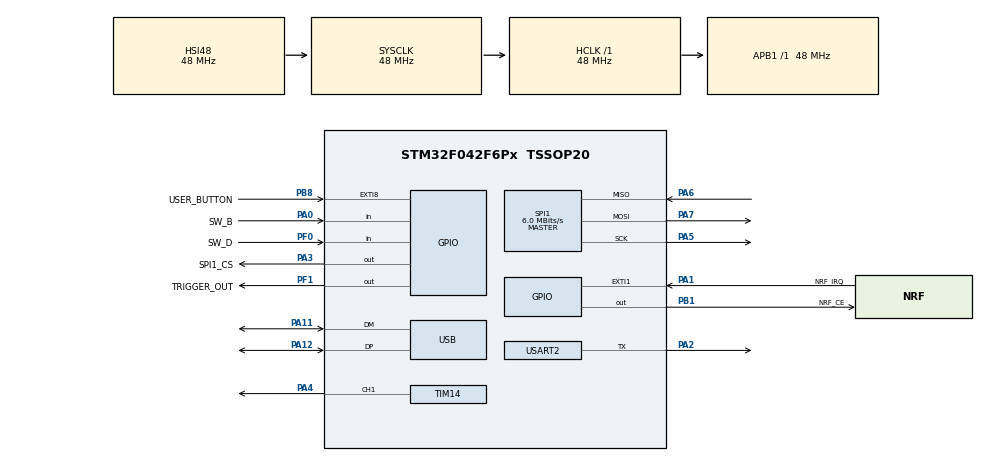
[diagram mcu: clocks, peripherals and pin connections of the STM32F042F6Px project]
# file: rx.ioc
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IWDG.Prescaler=IWDG_PRESCALER_8
Mcu.Family=STM32F0
Mcu.Name=STM32F042F6Px
Mcu.Package=TSSOP20
NVIC.EXTI0_1_IRQn=true\:0\:0\:true\:false\:true\:true
NVIC.EXTI4_15_IRQn=true\:2\:0\:true\:false\:true\:true
NVIC.TIM17_IRQn=true\:1\:0\:true\:false\:true\:true
NVIC.USB_IRQn=true\:0\:0\:false\:false\:true\:false
PA0.GPIO_Label=SW_B
PA0.GPIO_PuPd=GPIO_PULLDOWN
PA0.Signal=GPIO_Input
PA1.GPIO_Label=NRF_IRQ
PA1.GPIO_ModeDefaultEXTI=GPIO_MODE_IT_FALLING
PA1.GPIO_PuPd=GPIO_PULLUP
PA1.Signal=GPXTI1
PA11.Mode=Device
PA11.Signal=USB_DM
PA12.Mode=Device
PA12.Signal=USB_DP
PA13.Mode=Serial_Wire
PA13.Signal=SYS_SWDIO
PA14.Mode=Serial_Wire
PA14.Signal=SYS_SWCLK
PA2.Mode=Half_duplex(single_wire_mode)
PA2.Signal=USART2_TX
PA3.GPIO_Label=SPI1_CS
PA3.PinState=GPIO_PIN_SET
PA3.Signal=GPIO_Output
PA4.Signal=S_TIM14_CH1
PA5.Mode=Full_Duplex_Master
PA5.Signal=SPI1_SCK
PA6.Mode=Full_Duplex_Master
PA6.Signal=SPI1_MISO
PA7.Mode=Full_Duplex_Master
PA7.Signal=SPI1_MOSI
PB1.GPIO_Label=NRF_CE
PB1.Signal=GPIO_Output
PB8.GPIO_Label=USER_BUTTON
PB8.Signal=GPXTI8
PF0-OSC_IN.GPIO_Label=SW_D
PF0-OSC_IN.GPIO_PuPd=GPIO_PULLDOWN
PF0-OSC_IN.Signal=GPIO_Input
PF1-OSC_OUT.GPIO_Label=TRIGGER_OUT
PF1-OSC_OUT.Signal=GPIO_Output
ProjectManager.HeapSize=0x200
ProjectManager.StackSize=0x400
ProjectManager.TargetToolchain=MDK-ARM V5
RCC.AHBFreq_Value=48000000
RCC.APB1Freq_Value=48000000
RCC.APB1TimFreq_Value=48000000
RCC.HCLKFreq_Value=48000000
RCC.SYSCLKFreq_VALUE=48000000
RCC.SYSCLKSource=RCC_SYSCLKSOURCE_HSI48
SH.S_TIM14_CH1.0=TIM14_CH1,PWM Generation1 CH1
SPI1.BaudRatePrescaler=SPI_BAUDRATEPRESCALER_8
SPI1.CalculateBaudRate=6.0 MBits/s
SPI1.DataSize=SPI_DATASIZE_8BIT
SPI1.Direction=SPI_DIRECTION_2LINES
SPI1.Mode=SPI_MODE_MASTER
SPI1.VirtualType=VM_MASTER
TIM14.Channel=TIM_CHANNEL_1
TIM14.Period=255
TIM14.Prescaler=2399
TIM17.Period=16666
TIM17.Prescaler=47
USART2.BaudRate=115200
USART2.Mode=MODE_TX
USART2.VirtualMode-Half_duplex(single_wire_mode)=VM_ASYNC
USB_DEVICE.CLASS_NAME_FS=HID
USB_DEVICE.MANUFACTURER_STRING=IBM Corp. NetVista Full Width Keyboard
USB_DEVICE.PID_HID_FS=12325
USB_DEVICE.PRODUCT_STRING_HID_FS=NetVista Full Width Keyboard
USB_DEVICE.VID=1203
USB_DEVICE.VirtualMode=Hid
USB_DEVICE.VirtualModeFS=Hid_FS
VP_IWDG_VS_IWDG.Mode=IWDG_Activate
VP_SYS_VS_PINREMAP.Mode=PINREMAP
VP_TIM14_VS_ClockSourceINT.Mode=Enable_Timer
VP_TIM17_VS_ClockSourceINT.Mode=Enable_Timer
VP_USB_DEVICE_VS_USB_DEVICE_HID_FS.Mode=HID_FS
board=custom

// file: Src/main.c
/**
  ******************************************************************************
  * @file           : main.c
  * @brief          : Main program body
  ******************************************************************************
  * This notice applies to any and all portions of this file
  * that are not between comment pairs USER CODE BEGIN and
  * USER CODE END. Other portions of this file, whether
  * inserted by the user or by software development tools
  * are owned by their respective copyright owners.
  *
  * Copyright (c) 2019 STMicroelectronics International N.V.
  * All rights reserved.
  *
  * Redistribution and use in source and binary forms, with or without
  * modification, are permitted, provided that the following conditions are met:
  *
  * 1. Redistribution of source code must retain the above copyright notice,
  *    this list of conditions and the following disclaimer.
  * 2. Redistributions in binary form must reproduce the above copyright notice,
  *    this list of conditions and the following disclaimer in the documentation
  *    and/or other materials provided with the distribution.
  * 3. Neither the name of STMicroelectronics nor the names of other
  *    contributors to this software may be used to endorse or promote products
  *    derived from this software without specific written permission.
  * 4. This software, including modifications and/or derivative works of this
  *    software, must execute solely and exclusively on microcontroller or
  *    microprocessor devices manufactured by or for STMicroelectronics.
  * 5. Redistribution and use of this software other than as permitted under
  *    this license is void and will automatically terminate your rights under
  *    this license.
  *
  * THIS SOFTWARE IS PROVIDED BY STMICROELECTRONICS AND CONTRIBUTORS "AS IS"
  * AND ANY EXPRESS, IMPLIED OR STATUTORY WARRANTIES, INCLUDING, BUT NOT
  * LIMITED TO, THE IMPLIED WARRANTIES OF MERCHANTABILITY, FITNESS FOR A
  * PARTICULAR PURPOSE AND NON-INFRINGEMENT OF THIRD PARTY INTELLECTUAL PROPERTY
  * RIGHTS ARE DISCLAIMED TO THE FULLEST EXTENT PERMITTED BY LAW. IN NO EVENT
  * SHALL STMICROELECTRONICS OR CONTRIBUTORS BE LIABLE FOR ANY DIRECT, INDIRECT,
  * INCIDENTAL, SPECIAL, EXEMPLARY, OR CONSEQUENTIAL DAMAGES (INCLUDING, BUT NOT
  * LIMITED TO, PROCUREMENT OF SUBSTITUTE GOODS OR SERVICES; LOSS OF USE, DATA,
  * OR PROFITS; OR BUSINESS INTERRUPTION) HOWEVER CAUSED AND ON ANY THEORY OF
  * LIABILITY, WHETHER IN CONTRACT, STRICT LIABILITY, OR TORT (INCLUDING
  * NEGLIGENCE OR OTHERWISE) ARISING IN ANY WAY OUT OF THE USE OF THIS SOFTWARE,
  * EVEN IF ADVISED OF THE POSSIBILITY OF SUCH DAMAGE.
  *
  ******************************************************************************
  */
#include "main.h"
#include "stm32f0xx_hal.h"
#include "usb_device.h"

/* USER CODE BEGIN Includes */
#include "shared.h"
#include "nrf24.h"
#include "helpers.h"
#include "keyboard.h"
#include "animation.h"

#define DTPR_CMD_TEST 0xa1
#define DTPR_CMD_TRIG 0xb2
#define DTPR_CMD_STAT 0xc3

#define NRF_PAYLOAD_SIZE 6
#define NRF_CHANNEL 115

#define PRINT_BUF_SIZE 256
#define NUMBER_BUF_SIZE 20

/* USER CODE END Includes */

IWDG_HandleTypeDef hiwdg;

SPI_HandleTypeDef hspi1;

TIM_HandleTypeDef htim14;
TIM_HandleTypeDef htim17;

UART_HandleTypeDef huart2;

/* USER CODE BEGIN PV */
/* Private variables ---------------------------------------------------------*/
uint8_t nrf_status;
uint8_t received_data[NRF_PAYLOAD_SIZE];
uint8_t tx_address[5] = {0xBE,0xAD,0xA5,0xBA,0xBE};
uint8_t rx_address[5] = {0xDA,0xBB,0xED,0xC0,0x0C};
char print_buf[PRINT_BUF_SIZE];
char tx_id_buf[NUMBER_BUF_SIZE];
char baseline_buf[NUMBER_BUF_SIZE];
char trigger_buf[NUMBER_BUF_SIZE];
char bat_buf[NUMBER_BUF_SIZE];
char po_time_buf[NUMBER_BUF_SIZE];
char last_trigger_buf[NUMBER_BUF_SIZE];
char last_stat_buf[NUMBER_BUF_SIZE];
uint16_t baseline, this_reading, vbat_mV, power_on_time;
uint8_t rx_avaliable, button_pressed;
uint32_t last_stat_msg, last_trigger_msg;

/* USER CODE END PV */

void SystemClock_Config(void);
static void MX_GPIO_Init(void);
static void MX_USART2_UART_Init(void);
static void MX_SPI1_Init(void);
static void MX_TIM17_Init(void);
static void MX_TIM14_Init(void);
static void MX_IWDG_Init(void);

void HAL_TIM_MspPostInit(TIM_HandleTypeDef *htim);

/* USER CODE BEGIN PFP */
/* Private function prototypes -----------------------------------------------*/

/* USER CODE END PFP */

/* USER CODE BEGIN 0 */
int fputc(int ch, FILE *f)
{
    HAL_UART_Transmit(&huart2, (unsigned char *)&ch, 1, 10);
    return ch;
}

// timer interrupt handler
// happens every 16.67ms
void HAL_TIM_PeriodElapsedCallback(TIM_HandleTypeDef *htim)
{
  if(htim->Instance == TIM17)
    animation_update();
}

uint16_t eight2sixteen(uint8_t msb, uint8_t lsb)
{
  return (msb << 8) | lsb;
}

// this is the pin change interrupt handler
void HAL_GPIO_EXTI_Callback(uint16_t GPIO_Pin)
{
  if(GPIO_Pin == NRF_IRQ_Pin)
    rx_avaliable = 1;
  else if(GPIO_Pin == USER_BUTTON_Pin)
    button_pressed = 1;
}

void print_status(void)
{
  memset(print_buf, 0, PRINT_BUF_SIZE);
  sprintf(tx_id_buf, "Unknown");
  sprintf(trigger_buf, "Unknown");
  sprintf(baseline_buf, "Unknown");
  sprintf(po_time_buf, "Unknown");
  sprintf(bat_buf, "Unknown");
  sprintf(last_stat_buf, "Never");
  sprintf(last_trigger_buf, "Never");
  if(last_stat_msg != 0 || last_trigger_msg != 0)
  {
    if(received_data[0] != 0)
      sprintf(tx_id_buf, "0x%x", received_data[0]);
    if(baseline != 0)
      sprintf(baseline_buf, "%dmm", baseline);
    if(this_reading != 0)
      sprintf(trigger_buf, "%dmm", this_reading);
    if(vbat_mV != 0)
      sprintf(bat_buf, "%dmV", vbat_mV);
    if(last_stat_msg != 0)
      sprintf(po_time_buf, "%d minutes", power_on_time * 5 / 60);
    if(last_trigger_msg != 0)
      sprintf(last_trigger_buf, "%d seconds ago", (HAL_GetTick() - last_trigger_msg)/1000);
    if(last_stat_msg != 0)
      sprintf(last_stat_buf, "%d seconds ago", (HAL_GetTick() - last_stat_msg)/1000);
  	sprintf(print_buf, "\n---\n\
transmitter ID: %s\n\
...\n\
last trigger message: %s\n\
baseline: %s\n\
trigger: %s\n\
...\n\
last stat message: %s\n\
battery: %s\n\
power-on time: %s\n---\n\
", tx_id_buf, last_trigger_buf, baseline_buf, trigger_buf, last_stat_buf, bat_buf, po_time_buf);
  }
  else
  	sprintf(print_buf, "\nNo message has been received from TX yet.\n");
  // printf("%s", print_buf);
  kb_print(print_buf, 20);
  keyboard_release_all();
  button_pressed = 0;
}

/* USER CODE END 0 */

int main(void)
{

  /* MCU Configuration----------------------------------------------------------*/

  /* Reset of all peripherals, Initializes the Flash interface and the Systick. */
  HAL_Init();

  /* Configure the system clock */
  SystemClock_Config();

  /* Initialize all configured peripherals */
  MX_GPIO_Init();
  MX_USART2_UART_Init();
  MX_SPI1_Init();
  MX_TIM17_Init();
  MX_TIM14_Init();
  /* USER CODE BEGIN 2 */
  MX_IWDG_Init();
  animation_init(&htim17, &htim14);

  printf("\n\ndaytripper RX\ndekuNukem 2020\n\n");
  iwdg_wait(2000, ANIMATION_TYPE_BREATHING);
  MX_USB_DEVICE_Init();

  printf("initializing NRF...\n");
  nrf24_init();
  nrf24_config(NRF_CHANNEL, NRF_PAYLOAD_SIZE);
  nrf24_tx_address(tx_address);
  nrf24_rx_address(rx_address);
  printf("done\n");
  start_animation(ANIMATION_TYPE_CONST_OFF);

  /* USER CODE END 2 */

  /* Infinite loop */
  while (1)
  {

  /* USER CODE BEGIN 3 */
    HAL_IWDG_Refresh(&hiwdg);

    if(button_pressed)
      print_status();

    if(!rx_avaliable)
      continue;

    while(nrf24_dataReady())
    {
      start_animation(ANIMATION_TYPE_DOUBLEFLASH);
      nrf24_getData(received_data);

      printf("received: ");
      for (int i = 0; i < 6; ++i)
        printf("0x%x ", received_data[i]);
      printf("\n");

      if(received_data[1] == DTPR_CMD_TRIG)
      {
        HAL_GPIO_WritePin(TRIGGER_OUT_GPIO_Port, TRIGGER_OUT_Pin, GPIO_PIN_SET);
        press_keys(get_slide_sw_pos());
        baseline = eight2sixteen(received_data[2], received_data[3]);
        this_reading = eight2sixteen(received_data[4], received_data[5]);
        printf("cmd type: trigger\nbase: %d, this: %d\n", baseline, this_reading);
        HAL_GPIO_WritePin(TRIGGER_OUT_GPIO_Port, TRIGGER_OUT_Pin, GPIO_PIN_RESET);
        last_trigger_msg = HAL_GetTick();
      }

      else if(received_data[1] == DTPR_CMD_STAT)
      {
        vbat_mV = eight2sixteen(received_data[2], received_data[3]);
        power_on_time = eight2sixteen(received_data[4], received_data[5]);
        last_stat_msg = HAL_GetTick();
        printf("cmd type: status\nvbat_mV: %d, power-on time: %d minutes\n", vbat_mV, power_on_time * 5 / 60);
      }

      else if(received_data[1] == DTPR_CMD_TEST)
        printf("cmd type: test\n");

      if(vbat_mV >= 2500 && vbat_mV <= 3300)
        start_animation(ANIMATION_TYPE_BLINK);

      printf("\n\n");
    }
    rx_avaliable = 0;
  }
  /* USER CODE END 3 */

}

void SystemClock_Config(void)
{

  RCC_OscInitTypeDef RCC_OscInitStruct;
  RCC_ClkInitTypeDef RCC_ClkInitStruct;
  RCC_PeriphCLKInitTypeDef PeriphClkInit;

    /**Initializes the CPU, AHB and APB busses clocks
    */
  RCC_OscInitStruct.OscillatorType = RCC_OSCILLATORTYPE_HSI48|RCC_OSCILLATORTYPE_LSI;
  RCC_OscInitStruct.HSI48State = RCC_HSI48_ON;
  RCC_OscInitStruct.LSIState = RCC_LSI_ON;
  RCC_OscInitStruct.PLL.PLLState = RCC_PLL_NONE;
  if (HAL_RCC_OscConfig(&RCC_OscInitStruct) != HAL_OK)
  {
    _Error_Handler(__FILE__, __LINE__);
  }

    /**Initializes the CPU, AHB and APB busses clocks
    */
  RCC_ClkInitStruct.ClockType = RCC_CLOCKTYPE_HCLK|RCC_CLOCKTYPE_SYSCLK
                              |RCC_CLOCKTYPE_PCLK1;
  RCC_ClkInitStruct.SYSCLKSource = RCC_SYSCLKSOURCE_HSI48;
  RCC_ClkInitStruct.AHBCLKDivider = RCC_SYSCLK_DIV1;
  RCC_ClkInitStruct.APB1CLKDivider = RCC_HCLK_DIV1;

  if (HAL_RCC_ClockConfig(&RCC_ClkInitStruct, FLASH_LATENCY_1) != HAL_OK)
  {
    _Error_Handler(__FILE__, __LINE__);
  }

  PeriphClkInit.PeriphClockSelection = RCC_PERIPHCLK_USB;
  PeriphClkInit.UsbClockSelection = RCC_USBCLKSOURCE_HSI48;

  if (HAL_RCCEx_PeriphCLKConfig(&PeriphClkInit) != HAL_OK)
  {
    _Error_Handler(__FILE__, __LINE__);
  }

    /**Configure the Systick interrupt time
    */
  HAL_SYSTICK_Config(HAL_RCC_GetHCLKFreq()/1000);

    /**Configure the Systick
    */
  HAL_SYSTICK_CLKSourceConfig(SYSTICK_CLKSOURCE_HCLK);

  /* SysTick_IRQn interrupt configuration */
  HAL_NVIC_SetPriority(SysTick_IRQn, 0, 0);
}

/* IWDG init function */
static void MX_IWDG_Init(void)
{

  hiwdg.Instance = IWDG;
  hiwdg.Init.Prescaler = IWDG_PRESCALER_8;
  hiwdg.Init.Window = 4095;
  hiwdg.Init.Reload = 4095;
  if (HAL_IWDG_Init(&hiwdg) != HAL_OK)
  {
    _Error_Handler(__FILE__, __LINE__);
  }

}

/* SPI1 init function */
static void MX_SPI1_Init(void)
{

  /* SPI1 parameter configuration*/
  hspi1.Instance = SPI1;
  hspi1.Init.Mode = SPI_MODE_MASTER;
  hspi1.Init.Direction = SPI_DIRECTION_2LINES;
  hspi1.Init.DataSize = SPI_DATASIZE_8BIT;
  hspi1.Init.CLKPolarity = SPI_POLARITY_LOW;
  hspi1.Init.CLKPhase = SPI_PHASE_1EDGE;
  hspi1.Init.NSS = SPI_NSS_SOFT;
  hspi1.Init.BaudRatePrescaler = SPI_BAUDRATEPRESCALER_8;
  hspi1.Init.FirstBit = SPI_FIRSTBIT_MSB;
  hspi1.Init.TIMode = SPI_TIMODE_DISABLE;
  hspi1.Init.CRCCalculation = SPI_CRCCALCULATION_DISABLE;
  hspi1.Init.CRCPolynomial = 7;
  hspi1.Init.CRCLength = SPI_CRC_LENGTH_DATASIZE;
  hspi1.Init.NSSPMode = SPI_NSS_PULSE_ENABLE;
  if (HAL_SPI_Init(&hspi1) != HAL_OK)
  {
    _Error_Handler(__FILE__, __LINE__);
  }

}

/* TIM14 init function */
static void MX_TIM14_Init(void)
{

  TIM_OC_InitTypeDef sConfigOC;

  htim14.Instance = TIM14;
  htim14.Init.Prescaler = 2399;
  htim14.Init.CounterMode = TIM_COUNTERMODE_UP;
  htim14.Init.Period = 255;
  htim14.Init.ClockDivision = TIM_CLOCKDIVISION_DIV1;
  htim14.Init.AutoReloadPreload = TIM_AUTORELOAD_PRELOAD_DISABLE;
  if (HAL_TIM_Base_Init(&htim14) != HAL_OK)
  {
    _Error_Handler(__FILE__, __LINE__);
  }

  if (HAL_TIM_PWM_Init(&htim14) != HAL_OK)
  {
    _Error_Handler(__FILE__, __LINE__);
  }

  sConfigOC.OCMode = TIM_OCMODE_PWM1;
  sConfigOC.Pulse = 0;
  sConfigOC.OCPolarity = TIM_OCPOLARITY_HIGH;
  sConfigOC.OCFastMode = TIM_OCFAST_DISABLE;
  if (HAL_TIM_PWM_ConfigChannel(&htim14, &sConfigOC, TIM_CHANNEL_1) != HAL_OK)
  {
    _Error_Handler(__FILE__, __LINE__);
  }

  HAL_TIM_MspPostInit(&htim14);

}

/* TIM17 init function */
static void MX_TIM17_Init(void)
{

  htim17.Instance = TIM17;
  htim17.Init.Prescaler = 47;
  htim17.Init.CounterMode = TIM_COUNTERMODE_UP;
  htim17.Init.Period = 16666;
  htim17.Init.ClockDivision = TIM_CLOCKDIVISION_DIV1;
  htim17.Init.RepetitionCounter = 0;
  htim17.Init.AutoReloadPreload = TIM_AUTORELOAD_PRELOAD_DISABLE;
  if (HAL_TIM_Base_Init(&htim17) != HAL_OK)
  {
    _Error_Handler(__FILE__, __LINE__);
  }

}

/* USART2 init function */
static void MX_USART2_UART_Init(void)
{

  huart2.Instance = USART2;
  huart2.Init.BaudRate = 115200;
  huart2.Init.WordLength = UART_WORDLENGTH_8B;
  huart2.Init.StopBits = UART_STOPBITS_1;
  huart2.Init.Parity = UART_PARITY_NONE;
  huart2.Init.Mode = UART_MODE_TX;
  huart2.Init.HwFlowCtl = UART_HWCONTROL_NONE;
  huart2.Init.OverSampling = UART_OVERSAMPLING_16;
  huart2.Init.OneBitSampling = UART_ONE_BIT_SAMPLE_DISABLE;
  huart2.AdvancedInit.AdvFeatureInit = UART_ADVFEATURE_NO_INIT;
  if (HAL_HalfDuplex_Init(&huart2) != HAL_OK)
  {
    _Error_Handler(__FILE__, __LINE__);
  }

}

/** Configure pins as
        * Analog
        * Input
        * Output
        * EVENT_OUT
        * EXTI
*/
static void MX_GPIO_Init(void)
{

  GPIO_InitTypeDef GPIO_InitStruct;

  /* GPIO Ports Clock Enable */
  __HAL_RCC_GPIOB_CLK_ENABLE();
  __HAL_RCC_GPIOF_CLK_ENABLE();
  __HAL_RCC_GPIOA_CLK_ENABLE();

  /*Configure GPIO pin Output Level */
  HAL_GPIO_WritePin(TRIGGER_OUT_GPIO_Port, TRIGGER_OUT_Pin, GPIO_PIN_RESET);

  /*Configure GPIO pin Output Level */
  HAL_GPIO_WritePin(SPI1_CS_GPIO_Port, SPI1_CS_Pin, GPIO_PIN_SET);

  /*Configure GPIO pin Output Level */
  HAL_GPIO_WritePin(NRF_CE_GPIO_Port, NRF_CE_Pin, GPIO_PIN_RESET);

  /*Configure GPIO pin : USER_BUTTON_Pin */
  GPIO_InitStruct.Pin = USER_BUTTON_Pin;
  GPIO_InitStruct.Mode = GPIO_MODE_IT_RISING;
  GPIO_InitStruct.Pull = GPIO_NOPULL;
  HAL_GPIO_Init(USER_BUTTON_GPIO_Port, &GPIO_InitStruct);

  /*Configure GPIO pin : SW_D_Pin */
  GPIO_InitStruct.Pin = SW_D_Pin;
  GPIO_InitStruct.Mode = GPIO_MODE_INPUT;
  GPIO_InitStruct.Pull = GPIO_PULLDOWN;
  HAL_GPIO_Init(SW_D_GPIO_Port, &GPIO_InitStruct);

  /*Configure GPIO pin : TRIGGER_OUT_Pin */
  GPIO_InitStruct.Pin = TRIGGER_OUT_Pin;
  GPIO_InitStruct.Mode = GPIO_MODE_OUTPUT_PP;
  GPIO_InitStruct.Pull = GPIO_NOPULL;
  GPIO_InitStruct.Speed = GPIO_SPEED_FREQ_LOW;
  HAL_GPIO_Init(TRIGGER_OUT_GPIO_Port, &GPIO_InitStruct);

  /*Configure GPIO pin : SW_B_Pin */
  GPIO_InitStruct.Pin = SW_B_Pin;
  GPIO_InitStruct.Mode = GPIO_MODE_INPUT;
  GPIO_InitStruct.Pull = GPIO_PULLDOWN;
  HAL_GPIO_Init(SW_B_GPIO_Port, &GPIO_InitStruct);

  /*Configure GPIO pin : NRF_IRQ_Pin */
  GPIO_InitStruct.Pin = NRF_IRQ_Pin;
  GPIO_InitStruct.Mode = GPIO_MODE_IT_FALLING;
  GPIO_InitStruct.Pull = GPIO_PULLUP;
  HAL_GPIO_Init(NRF_IRQ_GPIO_Port, &GPIO_InitStruct);

  /*Configure GPIO pin : SPI1_CS_Pin */
  GPIO_InitStruct.Pin = SPI1_CS_Pin;
  GPIO_InitStruct.Mode = GPIO_MODE_OUTPUT_PP;
  GPIO_InitStruct.Pull = GPIO_NOPULL;
  GPIO_InitStruct.Speed = GPIO_SPEED_FREQ_LOW;
  HAL_GPIO_Init(SPI1_CS_GPIO_Port, &GPIO_InitStruct);

  /*Configure GPIO pin : NRF_CE_Pin */
  GPIO_InitStruct.Pin = NRF_CE_Pin;
  GPIO_InitStruct.Mode = GPIO_MODE_OUTPUT_PP;
  GPIO_InitStruct.Pull = GPIO_NOPULL;
  GPIO_InitStruct.Speed = GPIO_SPEED_FREQ_LOW;
  HAL_GPIO_Init(NRF_CE_GPIO_Port, &GPIO_InitStruct);

  /* EXTI interrupt init*/
  HAL_NVIC_SetPriority(EXTI0_1_IRQn, 0, 0);
  HAL_NVIC_EnableIRQ(EXTI0_1_IRQn);

  HAL_NVIC_SetPriority(EXTI4_15_IRQn, 2, 0);
  HAL_NVIC_EnableIRQ(EXTI4_15_IRQn);

}

void _Error_Handler(char *file, int line)
{
  while(1)
  {
  }
}

/************************ (C) COPYRIGHT STMicroelectronics *****END OF FILE****/
